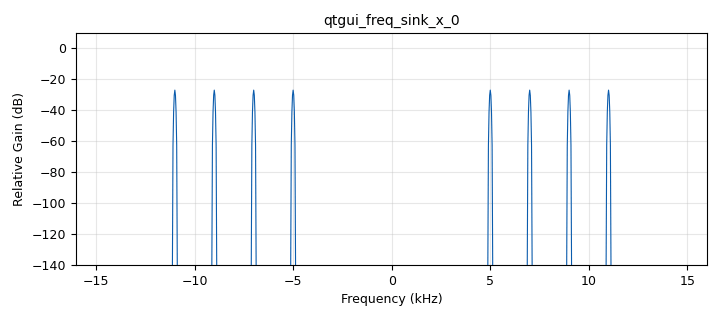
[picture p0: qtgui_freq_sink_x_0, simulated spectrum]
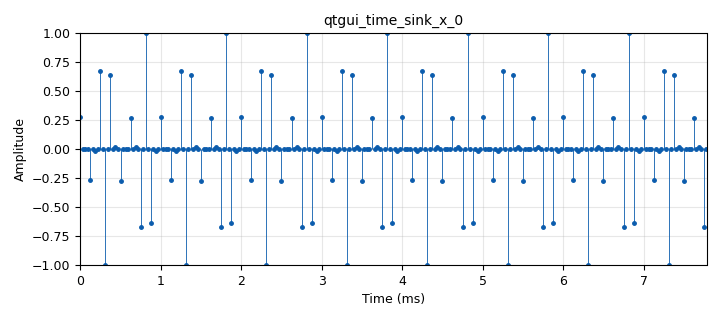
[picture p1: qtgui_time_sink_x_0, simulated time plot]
options:
  parameters:
    author: kamil
    generate_options: qt_gui
    id: Cosenos
    output_language: python
    title: 3 Cosenos
  states: {}

blocks:
- name: freq
  id: variable_qtgui_range
  parameters:
    label: Frecuencia de Muestreo
    orient: Qt.Horizontal
    start: 1e3
    step: 1e3
    stop: 50e3
    value: 1e3
  states: {}
- name: samp_rate
  id: variable
  parameters:
    value: 32e3
  states: {}
- name: analog_sig_source_x_0
  id: analog_sig_source_x
  parameters:
    amp: '1'
    freq: freq
    offset: '0'
    phase: '0'
    samp_rate: samp_rate
    type: float
    waveform: analog.GR_COS_WAVE
  states: {}
- name: analog_sig_source_x_0_0
  id: analog_sig_source_x
  parameters:
    amp: '1'
    freq: freq*8
    offset: '0'
    phase: '0'
    samp_rate: samp_rate
    type: float
    waveform: analog.GR_COS_WAVE
  states: {}
- name: analog_sig_source_x_0_0_0
  id: analog_sig_source_x
  parameters:
    amp: '1'
    freq: freq*30
    offset: '0'
    phase: '0'
    samp_rate: samp_rate
    type: float
    waveform: analog.GR_COS_WAVE
  states: {}
- name: blocks_multiply_xx_0
  id: blocks_multiply_xx
  parameters:
    num_inputs: '3'
    type: float
  states: {}
- name: qtgui_freq_sink_x_0
  id: qtgui_freq_sink_x
  parameters:
    bw: samp_rate
    fc: '0'
    fftsize: '1024'
    type: float
    wintype: firdes.WIN_BLACKMAN_hARRIS
  states: {}
- name: qtgui_time_sink_x_0
  id: qtgui_time_sink_x
  parameters:
    marker1: '0'
    size: '250'
    srate: samp_rate
    stemplot: 'True'
    type: float
  states: {}

connections:
- [analog_sig_source_x_0, '0', blocks_multiply_xx_0, '0']
- [analog_sig_source_x_0_0, '0', blocks_multiply_xx_0, '2']
- [analog_sig_source_x_0_0_0, '0', blocks_multiply_xx_0, '1']
- [blocks_multiply_xx_0, '0', qtgui_freq_sink_x_0, '0']
- [blocks_multiply_xx_0, '0', qtgui_time_sink_x_0, '0']

metadata:
  file_format: 1
